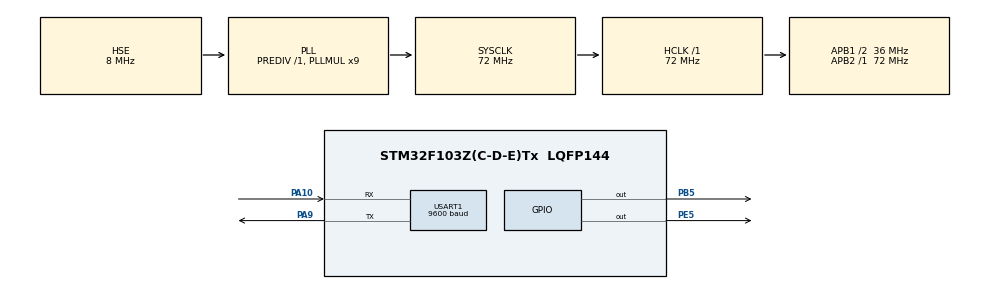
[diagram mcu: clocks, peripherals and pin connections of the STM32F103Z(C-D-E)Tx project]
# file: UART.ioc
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Mcu.Family=STM32F1
Mcu.Name=STM32F103Z(C-D-E)Tx
Mcu.Package=LQFP144
NVIC.PriorityGroup=NVIC_PRIORITYGROUP_4
NVIC.USART1_IRQn=true\:0\:0\:false\:false\:true\:true\:true
OSC_IN.Mode=HSE-External-Oscillator
OSC_IN.Signal=RCC_OSC_IN
OSC_OUT.Mode=HSE-External-Oscillator
OSC_OUT.Signal=RCC_OSC_OUT
PA10.Mode=Asynchronous
PA10.Signal=USART1_RX
PA9.Mode=Asynchronous
PA9.Signal=USART1_TX
PB5.Signal=GPIO_Output
PC14-OSC32_IN.Mode=LSE-External-Oscillator
PC14-OSC32_IN.Signal=RCC_OSC32_IN
PC15-OSC32_OUT.Mode=LSE-External-Oscillator
PC15-OSC32_OUT.Signal=RCC_OSC32_OUT
PE5.Signal=GPIO_Output
ProjectManager.HeapSize=0x200
ProjectManager.StackSize=0x400
ProjectManager.TargetToolchain=MDK-ARM V5
RCC.AHBFreq_Value=72000000
RCC.APB1CLKDivider=RCC_HCLK_DIV2
RCC.APB1Freq_Value=36000000
RCC.APB1TimFreq_Value=72000000
RCC.APB2Freq_Value=72000000
RCC.APB2TimFreq_Value=72000000
RCC.HCLKFreq_Value=72000000
RCC.PLLMUL=RCC_PLL_MUL9
RCC.PLLSourceVirtual=RCC_PLLSOURCE_HSE
RCC.SYSCLKFreq_VALUE=72000000
RCC.SYSCLKSource=RCC_SYSCLKSOURCE_PLLCLK
RCC.USBFreq_Value=72000000
USART1.BaudRate=9600
USART1.VirtualMode=VM_ASYNC
VP_SYS_VS_ND.Mode=No_Debug
board=custom

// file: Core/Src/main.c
/* USER CODE BEGIN Header */
/**
  ******************************************************************************
  * @file           : main.c
  * @brief          : Main program body
  ******************************************************************************
  * @attention
  *
  * <h2><center>&copy; Copyright (c) 2022 STMicroelectronics.
  * All rights reserved.</center></h2>
  *
  * This software component is licensed by ST under BSD 3-Clause license,
  * the "License"; You may not use this file except in compliance with the
  * License. You may obtain a copy of the License at:
  *                        opensource.org/licenses/BSD-3-Clause
  *
  ******************************************************************************
  */
/* USER CODE END Header */
#include "main.h"
#include "usart.h"
#include "gpio.h"

void SystemClock_Config(void);

/* USER CODE BEGIN 0 */
uint8_t Tx_str1[] = "hello";
uint8_t Tx_str2[] = "Open";
uint8_t Tx_str3[] = "Close";
uint8_t Rx_dat = 0;

void HAL_UART_RxCpltCallback(UART_HandleTypeDef *huart)
{
	if(huart->Instance == USART1)
	{
		if(Rx_dat == 0xa1)
		{
			HAL_GPIO_WritePin(GPIOB, GPIO_PIN_5, GPIO_PIN_SET);
			HAL_UART_Transmit(&huart1, Tx_str2, sizeof(Tx_str2), 10000);
			HAL_UART_Receive_IT(&huart1, &Rx_dat, 1);
		}

		if(Rx_dat == 0xa2)
		{
			HAL_GPIO_WritePin(GPIOB, GPIO_PIN_5, GPIO_PIN_RESET);
			HAL_UART_Transmit(&huart1, Tx_str3, sizeof(Tx_str3), 10000);
			HAL_UART_Receive_IT(&huart1, &Rx_dat, 1);
		}
	}
}
/* USER CODE END 0 */

int main(void)
{

  /* MCU Configuration--------------------------------------------------------*/

  /* Reset of all peripherals, Initializes the Flash interface and the Systick. */
  HAL_Init();

  /* Configure the system clock */
  SystemClock_Config();

  /* Initialize all configured peripherals */
  MX_GPIO_Init();
  MX_USART1_UART_Init();
  /* USER CODE BEGIN 2 */

	HAL_GPIO_WritePin(GPIOB, GPIO_PIN_5, GPIO_PIN_SET);
	HAL_UART_Transmit(&huart1, Tx_str1, sizeof(Tx_str1), 10000);
	HAL_GPIO_WritePin(GPIOB, GPIO_PIN_5, GPIO_PIN_RESET);

	HAL_UART_Receive_IT(&huart1, &Rx_dat, 1);

  /* USER CODE END 2 */

  /* Infinite loop */
  while (1)
  {

    /* USER CODE BEGIN 3 */
		HAL_UART_Receive_IT(&huart1, &Rx_dat, 1);
  }
  /* USER CODE END 3 */
}

void SystemClock_Config(void)
{
  RCC_OscInitTypeDef RCC_OscInitStruct = {0};
  RCC_ClkInitTypeDef RCC_ClkInitStruct = {0};

  /** Initializes the RCC Oscillators according to the specified parameters
  * in the RCC_OscInitTypeDef structure.
  */
  RCC_OscInitStruct.OscillatorType = RCC_OSCILLATORTYPE_HSE;
  RCC_OscInitStruct.HSEState = RCC_HSE_ON;
  RCC_OscInitStruct.HSEPredivValue = RCC_HSE_PREDIV_DIV1;
  RCC_OscInitStruct.HSIState = RCC_HSI_ON;
  RCC_OscInitStruct.PLL.PLLState = RCC_PLL_ON;
  RCC_OscInitStruct.PLL.PLLSource = RCC_PLLSOURCE_HSE;
  RCC_OscInitStruct.PLL.PLLMUL = RCC_PLL_MUL9;
  if (HAL_RCC_OscConfig(&RCC_OscInitStruct) != HAL_OK)
  {
    Error_Handler();
  }
  /** Initializes the CPU, AHB and APB buses clocks
  */
  RCC_ClkInitStruct.ClockType = RCC_CLOCKTYPE_HCLK|RCC_CLOCKTYPE_SYSCLK
                              |RCC_CLOCKTYPE_PCLK1|RCC_CLOCKTYPE_PCLK2;
  RCC_ClkInitStruct.SYSCLKSource = RCC_SYSCLKSOURCE_PLLCLK;
  RCC_ClkInitStruct.AHBCLKDivider = RCC_SYSCLK_DIV1;
  RCC_ClkInitStruct.APB1CLKDivider = RCC_HCLK_DIV2;
  RCC_ClkInitStruct.APB2CLKDivider = RCC_HCLK_DIV1;

  if (HAL_RCC_ClockConfig(&RCC_ClkInitStruct, FLASH_LATENCY_2) != HAL_OK)
  {
    Error_Handler();
  }
}

void Error_Handler(void)
{
}

/************************ (C) COPYRIGHT STMicroelectronics *****END OF FILE****/
